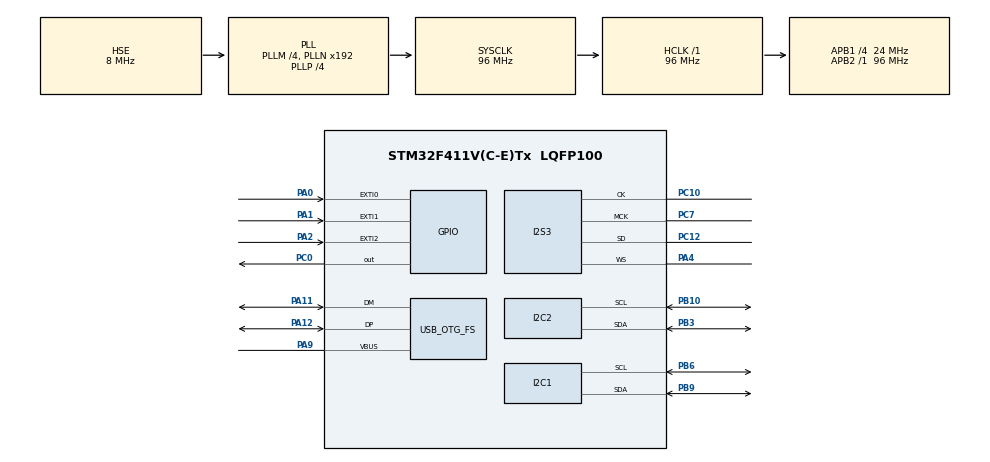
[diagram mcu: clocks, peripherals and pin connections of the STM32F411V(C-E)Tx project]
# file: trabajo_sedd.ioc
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Dma.Request0=SPI3_TX
Dma.SPI3_TX.0.Direction=DMA_MEMORY_TO_PERIPH
Dma.SPI3_TX.0.FIFOMode=DMA_FIFOMODE_ENABLE
Dma.SPI3_TX.0.FIFOThreshold=DMA_FIFO_THRESHOLD_FULL
Dma.SPI3_TX.0.Instance=DMA1_Stream5
Dma.SPI3_TX.0.MemBurst=DMA_MBURST_SINGLE
Dma.SPI3_TX.0.MemDataAlignment=DMA_MDATAALIGN_HALFWORD
Dma.SPI3_TX.0.MemInc=DMA_MINC_ENABLE
Dma.SPI3_TX.0.Mode=DMA_CIRCULAR
Dma.SPI3_TX.0.PeriphBurst=DMA_PBURST_SINGLE
Dma.SPI3_TX.0.PeriphDataAlignment=DMA_PDATAALIGN_HALFWORD
Dma.SPI3_TX.0.PeriphInc=DMA_PINC_DISABLE
Dma.SPI3_TX.0.Priority=DMA_PRIORITY_LOW
FATFS._USE_LFN=1
I2C2.I2C_Mode=I2C_Fast
I2S3.AudioFreq=I2S_AUDIOFREQ_44K
I2S3.ErrorAudioFreq=1.45 %
I2S3.FullDuplexMode=I2S_FULLDUPLEXMODE_DISABLE
I2S3.Instance=SPI$Index
I2S3.RealAudioFreq=44.642 KHz
I2S3.VirtualMode=I2S_MODE_MASTER
Mcu.Family=STM32F4
Mcu.Name=STM32F411V(C-E)Tx
Mcu.Package=LQFP100
NVIC.DMA1_Stream5_IRQn=true\:0\:0\:false\:false\:true\:false\:true\:true
NVIC.EXTI0_IRQn=true\:0\:0\:false\:false\:true\:true\:true\:true
NVIC.EXTI1_IRQn=true\:0\:0\:false\:false\:true\:true\:true\:true
NVIC.EXTI2_IRQn=true\:0\:0\:false\:false\:true\:true\:true\:true
NVIC.OTG_FS_IRQn=true\:0\:0\:false\:false\:true\:true\:true\:true
NVIC.PriorityGroup=NVIC_PRIORITYGROUP_0
NVIC.TIM1_UP_TIM10_IRQn=true\:0\:0\:false\:false\:true\:true\:true\:true
PA0-WKUP.GPIO_PuPd=GPIO_PULLDOWN
PA0-WKUP.Signal=GPXTI0
PA1.GPIO_PuPd=GPIO_PULLDOWN
PA1.Signal=GPXTI1
PA11.Mode=Host_Only
PA11.Signal=USB_OTG_FS_DM
PA12.Mode=Host_Only
PA12.Signal=USB_OTG_FS_DP
PA2.GPIO_PuPd=GPIO_PULLDOWN
PA2.Signal=GPXTI2
PA4.Mode=Half_Duplex_Master
PA4.Signal=I2S3_WS
PA9.Mode=Activate_VBUS
PA9.Signal=USB_OTG_FS_VBUS
PB10.Mode=I2C
PB10.Signal=I2C2_SCL
PB3.Mode=I2C
PB3.Signal=I2C2_SDA
PB6.GPIO_Pu=GPIO_PULLUP
PB6.Mode=I2C
PB6.Signal=I2C1_SCL
PB9.GPIO_Pu=GPIO_PULLUP
PB9.Mode=I2C
PB9.Signal=I2C1_SDA
PC0.Signal=GPIO_Output
PC10.Mode=Half_Duplex_Master
PC10.Signal=I2S3_CK
PC12.Mode=Half_Duplex_Master
PC12.Signal=I2S3_SD
PC7.Mode=Master_Clock_Activated
PC7.Signal=I2S3_MCK
PH0\ -\ OSC_IN.Mode=HSE-External-Oscillator
PH0\ -\ OSC_IN.Signal=RCC_OSC_IN
PH1\ -\ OSC_OUT.Mode=HSE-External-Oscillator
PH1\ -\ OSC_OUT.Signal=RCC_OSC_OUT
ProjectManager.HeapSize=0x200
ProjectManager.StackSize=0x400
ProjectManager.TargetToolchain=STM32CubeIDE
RCC.48MHZClocksFreq_Value=48000000
RCC.AHBFreq_Value=96000000
RCC.APB1CLKDivider=RCC_HCLK_DIV4
RCC.APB1Freq_Value=24000000
RCC.APB1TimFreq_Value=48000000
RCC.APB2Freq_Value=96000000
RCC.APB2TimFreq_Value=96000000
RCC.CortexFreq_Value=96000000
RCC.HCLKFreq_Value=96000000
RCC.HSE_VALUE=8000000
RCC.HSI_VALUE=16000000
RCC.LSE_VALUE=32768
RCC.PLLI2SM=5
RCC.PLLI2SN=200
RCC.PLLM=4
RCC.PLLP=RCC_PLLP_DIV4
RCC.PLLQ=8
RCC.SYSCLKFreq_VALUE=96000000
RCC.SYSCLKSource=RCC_SYSCLKSOURCE_PLLCLK
RCC.VCOOutputFreq_Value=384000000
TIM10.Period=800
TIM10.Prescaler=48000
USB_HOST.BSP.number=1
USB_HOST.USBH_HandleTypeDef=hUsbHostFS
USB_HOST.VirtualModeFS=Msc
USB_HOST0.BSP.STBoard=false
USB_HOST0.BSP.api=Unknown
USB_HOST0.BSP.instance=PC0
USB_HOST0.BSP.ip=GPIO
USB_HOST0.BSP.mode=Output
USB_HOST0.BSP.name=Drive_VBUS_FS
USB_HOST0.BSP.solution=PC0
USB_OTG_FS.VirtualMode=Host_Only
USB_OTG_FS.phy_itface=HCD_PHY_EMBEDDED
VP_FATFS_VS_USB.Mode=USB
VP_TIM10_VS_ClockSourceINT.Mode=Enable_Timer
VP_USB_HOST_VS_USB_HOST_MSC_FS.Mode=MSC_FS
board=STM32F411E-DISCO

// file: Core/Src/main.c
/* USER CODE BEGIN Header */
/**
  ******************************************************************************
  * @file           : main.c
  * @brief          : Main program body
  ******************************************************************************
  * @attention
  *
  * <h2><center>&copy; Copyright (c) 2021 STMicroelectronics.
  * All rights reserved.</center></h2>
  *
  * This software component is licensed by ST under Ultimate Liberty license
  * SLA0044, the "License"; You may not use this file except in compliance with
  * the License. You may obtain a copy of the License at:
  *                             www.st.com/SLA0044
  *
  ******************************************************************************
  */

/*/////////////////////////////////////////////////////////////////////////////////
***********************************************************************************
*************************************MP3+OLED**************************************
***********************************************************************************
En este proyecto han sido utilizados varios drivers para el control del audio del micro y del OLED que ha sido adquirido.
Estos archivos han sido descargados de la pagina de Controllerstech
  - Los drivers para gestionar audio son: AUDIO_LINK, AUDIO, cs43l22, File_Handling y waveplayer
  - Los drivers para gestionar el OLED son: fonts y ssd1306

**** DRIVERS MODIFICADOS POR EL ALUMNO: waveplayer.c
  - Se ha modificado waveplayer.c para incluir dos funciones que permiten la
    obtencion del nombre del archivo de audio que se esta reproduciendo: get_name() y quitar_extension()

**** RESTO DE ARCHIVOS (REALIZADOS AL 100% POR EL ALUMNO)
  - Se han creado archivos de cabecera (.h) para realizar mapas de bits con dibujos/animaciones
    en el OLED, estos archivos son: bailadora.h, fumador.h, skater.h y Otras_Imagenes.h

  - main.c: En este archivo, el funcionamiento principal del programa es gestionado

**** FUNCIONAMIENTO PRINCIPAL
  - Al ejecutar el programa se muestra en el OLED una portada durante 5 segundos
  - Despues se muestra una segunda portada durante otros 5 segundos
  - Al terminar la presentacion, empieza a sonar la musica y en el OLED se muestra el nombre de la cancion acompanado de una animacion
  - Las animaciones son gestionadas con un temporizador basico
  - Con PA0, PA1 y PA2 se controla la accion de pausar y pasar a siguiente o anterior cancion
  - Al cambiar de cancion, se actualiza en el OLED la animacion mostrada y el titulo de cancion
  - Al pausar se muestra una imagen especial
*/

/* USER CODE END Header */
#include "main.h"
#include "fatfs.h"
#include "usb_host.h"

/* USER CODE BEGIN Includes */

//////AUDIO///////
#include "waveplayer.h"
#include "File_Handling.h"

//////OLED///////
#include "ssd1306.h"
#include "fonts.h"
#include "stdio.h"

//////ANIMACIONES e IMAGENES///////
#include "skater.h"
#include "fumador.h"
#include "bailadora.h"
#include "Otras_Imagenes.h"

/* USER CODE END Includes */

I2C_HandleTypeDef hi2c1;
I2C_HandleTypeDef hi2c2;

I2S_HandleTypeDef hi2s3;
DMA_HandleTypeDef hdma_spi3_tx;

TIM_HandleTypeDef htim10;

void SystemClock_Config(void);
static void MX_GPIO_Init(void);
static void MX_DMA_Init(void);
static void MX_I2C1_Init(void);
static void MX_I2S3_Init(void);
static void MX_I2C2_Init(void);
static void MX_TIM10_Init(void);
void MX_USB_HOST_Process(void);

/* USER CODE BEGIN 0 */

// Declaracion de las funciones que controlan las animaciones
void animacion1(uint8_t);
void animacion2(uint8_t);
void animacion3(uint8_t);
void animacion4(uint8_t);

extern ApplicationTypeDef Appli_state;         // Estado de la aplicacion
extern AUDIO_PLAYBACK_StateTypeDef AudioState; // Estado del audio (Siguiente o anterior cancion, pausa...)

int IsFinished = 0;               // Para terminar el bucle while principal cuando AudioState = AUDIO_STATE_STOP
int current_anim_state = 3;       // Animacion que se esta ejecutando en el momento (1, 2, 3 o 4)
volatile uint8_t frame_anim = 0;  // Variable para selecionar los frames en las animaciones

void change_animation() // Para seleccionar la siguiente animacion al cambiar de cancion
{
	// Se hace con esta estructura if-elsif porque con los rebotes "current_anim_state ++" daba errores
	if(current_anim_state == 1)
		current_anim_state = 2;
	else if(current_anim_state == 2)
		current_anim_state = 3;
	else if(current_anim_state == 3)
		current_anim_state = 4;
	else if(current_anim_state == 4)
		current_anim_state = 1;
}

void HAL_GPIO_EXTI_Callback(uint16_t GPIO_Pin)
{
	if (GPIO_Pin == GPIO_PIN_0) // PA0 controla la pausa/reanudacion del mp3
	{
		if (AudioState == AUDIO_STATE_PLAY)
		{
			AudioState = AUDIO_STATE_PAUSE;
			SSD1306_Clear();
			SSD1306_DrawBitmap(0, 0, PAUSA, 128, 64, 1); // Se dibuja la imagen de pausa cuando AudioState pasa a valer "AUDIO_STATE_PAUSE" debido a PA0
			SSD1306_UpdateScreen();
		}

		if (AudioState == AUDIO_STATE_WAIT)
		{
			AudioState = AUDIO_STATE_RESUME;
		}
	}

	if (GPIO_Pin == GPIO_PIN_1) // PA1 se utiliza para reproducir el siguiente archivo
	{
		AudioState = AUDIO_STATE_NEXT;
		change_animation();     // Al cambiar la cancion, se cambia la animacion mostrada
		frame_anim = 1;         // Se reinicia el frame de la animacion al primer frame
	}

	if (GPIO_Pin == GPIO_PIN_2) // PA2 se utiliza para reproducir el archivo anterior
	{
		AudioState = AUDIO_STATE_PREVIOUS;
		change_animation();     // Al cambiar la cancion, se cambia la animacion mostrada
		frame_anim = 1;         // Se reinicia el frame de la animacion al primer frame
	}
}

// Se utiliza un temporizador basico para la actualizacion de los frames en las animaciones para el OLED
void HAL_TIM_PeriodElapsedCallback(TIM_HandleTypeDef *htim)  // Se genera una interrupcion en intervalos inferiores a medio segundo.
{

    if (htim->Instance == TIM10 && (AudioState == AUDIO_STATE_PLAY)) // Solo se ejecutan las animaciones cuando el estado del audio es AUDIO_STATE_PLAY
    {
    	if(current_anim_state == 1)
    	{
			frame_anim++;
			if (frame_anim == 11) frame_anim = 1;
			animacion1(frame_anim);
    	}

    	else if(current_anim_state == 2)
    	{
			frame_anim++;
			if (frame_anim == 7) frame_anim = 1;
			animacion2(frame_anim);
    	}

    	else if(current_anim_state == 3)
    	{
			frame_anim++;
			if (frame_anim == 9) frame_anim = 1;
			animacion3(frame_anim);
    	}

    	else if(current_anim_state == 4)
    	{
			frame_anim++;
			if (frame_anim == 7) frame_anim = 1;
			animacion4(frame_anim);
    	}
    }
}

//////////////////////////////////////////////////////////////////////////////////////////
//////////////////////////////////////////////////////////////////////////////////////////
//**********************************ANIMACIONES*******************************************
// En todas las animaciones se obtiene el nombre de la cancion reproducida y se procede a escribirlo en la pantalla en todos los frames
char* get_name();
char* quitar_extension(const char*);
void animacion1(uint8_t frame)
{
	int x = 35; // Posicion del nombre de la cancion en el OLED
	char* song_name = quitar_extension(get_name()); // Usamos las dos funciones que hemos incluido a waveplayer.c para obtener el nombre del archivo en ejecucion

	  //// ANIMATION STARTS //////
	if (frame == 1)
	{
	    SSD1306_Clear();
	    SSD1306_GotoXY (0,10); // goto 0, 10
	    SSD1306_Puts ("\\O/", &Font_11x18, 1);
	    SSD1306_GotoXY (0, 30);
	    SSD1306_Puts (" |", &Font_11x18, 1);
	    SSD1306_GotoXY (0, 45);
	    SSD1306_Puts ("/ \\", &Font_11x18, 1);
	    SSD1306_GotoXY (x, 30);
	    SSD1306_Puts (song_name, &Font_11x18, 0);
	    SSD1306_UpdateScreen(); // update screen
	}

	else if (frame == 2)
	{
	    SSD1306_Clear();
	    SSD1306_GotoXY (0,10);
	    SSD1306_Puts ("\\O", &Font_11x18, 1);
	    SSD1306_GotoXY (0, 30);
	    SSD1306_Puts (" |\\", &Font_11x18, 1);
	    SSD1306_GotoXY (0, 45);
	    SSD1306_Puts ("\\ \\", &Font_11x18, 1);
	    SSD1306_GotoXY (x, 30);
	    SSD1306_Puts (song_name, &Font_11x18, 0);
	    SSD1306_UpdateScreen(); // update screen
	}

	else if (frame == 3)
	{
	    SSD1306_Clear();
	    SSD1306_GotoXY (0,10);
	    SSD1306_Puts (" O/", &Font_11x18, 1);
	    SSD1306_GotoXY (0, 30);
	    SSD1306_Puts ("\\|", &Font_11x18, 1);
	    SSD1306_GotoXY (0, 45);
	    SSD1306_Puts ("/ \\", &Font_11x18, 1);
	    SSD1306_GotoXY (x, 30);
	    SSD1306_Puts (song_name, &Font_11x18, 0);
	    SSD1306_UpdateScreen(); // update screen
	}

	else if (frame == 4)
	{
	    SSD1306_Clear();
	    SSD1306_GotoXY (0,10);
	    SSD1306_Puts ("\\O", &Font_11x18, 1);
	    SSD1306_GotoXY (0, 30);
	    SSD1306_Puts (" |\\", &Font_11x18, 1);
	    SSD1306_GotoXY (0, 45);
	    SSD1306_Puts ("/ \\", &Font_11x18, 1);
	    SSD1306_GotoXY (x, 30);
	    SSD1306_Puts (song_name, &Font_11x18, 0);
	    SSD1306_UpdateScreen(); // update screen
	}

	else if (frame == 5)
	{
	    SSD1306_Clear();
	    SSD1306_GotoXY (0,10);
	    SSD1306_Puts (" O/", &Font_11x18, 1);
	    SSD1306_GotoXY (0, 30);
	    SSD1306_Puts ("\\|", &Font_11x18, 1);
	    SSD1306_GotoXY (0, 45);
	    SSD1306_Puts ("\\ \\", &Font_11x18, 1);
	    SSD1306_GotoXY (x, 30);
	    SSD1306_Puts (song_name, &Font_11x18, 0);
	    SSD1306_UpdateScreen(); // update screen
	}

	else if (frame == 6)
	{
	    SSD1306_Clear();
	    SSD1306_GotoXY (0,10);
	    SSD1306_Puts ("\\O", &Font_11x18, 1);
	    SSD1306_GotoXY (0, 30);
	    SSD1306_Puts (" |\\", &Font_11x18, 1);
	    SSD1306_GotoXY (0, 45);
	    SSD1306_Puts ("/ \\", &Font_11x18, 1);
	    SSD1306_GotoXY (x, 30);
	    SSD1306_Puts (song_name, &Font_11x18, 0);
	    SSD1306_UpdateScreen(); // update screen
	}

	else if (frame == 7)
	{
	    SSD1306_Clear();
	    SSD1306_GotoXY (0,10);
	    SSD1306_Puts (" O/", &Font_11x18, 1);
	    SSD1306_GotoXY (0, 30);
	    SSD1306_Puts ("\\|", &Font_11x18, 1);
	    SSD1306_GotoXY (0, 45);
	    SSD1306_Puts ("/ \\", &Font_11x18, 1);
	    SSD1306_GotoXY (x, 30);
	    SSD1306_Puts (song_name, &Font_11x18, 0);
	    SSD1306_UpdateScreen(); // update screen
	}

	else if (frame == 8)
	{
	    SSD1306_Clear();
	    SSD1306_GotoXY (0,10);
	    SSD1306_Puts ("\\O_", &Font_11x18, 1);
	    SSD1306_GotoXY (0, 30);
	    SSD1306_Puts (" |", &Font_11x18, 1);
	    SSD1306_GotoXY (0, 45);
	    SSD1306_Puts ("/ \\", &Font_11x18, 1);
	    SSD1306_GotoXY (x, 30);
	    SSD1306_Puts (song_name, &Font_11x18, 0);
	    SSD1306_UpdateScreen(); // update screen
	}

	else if (frame == 9)
	{
	    SSD1306_Clear();
	    SSD1306_GotoXY (0,10);
	    SSD1306_Puts ("\\O/", &Font_11x18, 1);
	    SSD1306_GotoXY (0, 30);
	    SSD1306_Puts (" |", &Font_11x18, 1);
	    SSD1306_GotoXY (0, 45);
	    SSD1306_Puts ("\\ \\", &Font_11x18, 1);
	    SSD1306_GotoXY (x, 30);
	    SSD1306_Puts (song_name, &Font_11x18, 0);
	    SSD1306_UpdateScreen(); // update screen
	}

	else if(frame == 10)
	{
	    SSD1306_Clear();
	    SSD1306_GotoXY (0,10);
	    SSD1306_Puts ("_O/", &Font_11x18, 1);
	    SSD1306_GotoXY (0, 30);
	    SSD1306_Puts (" |", &Font_11x18, 1);
	    SSD1306_GotoXY (0, 45);
	    SSD1306_Puts ("/ \\", &Font_11x18, 1);
	    SSD1306_GotoXY (x, 30);
	    SSD1306_Puts (song_name, &Font_11x18, 0);
	    SSD1306_UpdateScreen(); // update screen
	}
}

void animacion2(uint8_t frame)
{
	char* song_name = quitar_extension(get_name()); // Usamos las dos funciones que hemos incluido a waveplayer.c para obtener el nombre del archivo en ejecucion

	  //// ANIMATION STARTS //////
	if (frame == 1)
	{
		SSD1306_Clear();
		SSD1306_DrawBitmap(0, 0, skater1, 128, 64, 1);
		SSD1306_GotoXY (10,45);
		SSD1306_Puts (song_name, &Font_11x18, 1);
		SSD1306_UpdateScreen(); // update screen
	}

	else if (frame == 2)
	{
		SSD1306_Clear();
		SSD1306_DrawBitmap(0, 0, skater2, 128, 64, 1);
		SSD1306_GotoXY (10,45);
		SSD1306_Puts (song_name, &Font_11x18, 1);
	    SSD1306_UpdateScreen(); // update screen
	}

	else if (frame == 3)
	{
		SSD1306_Clear();
		SSD1306_DrawBitmap(0, 0, skater3, 128, 64, 1);
		SSD1306_GotoXY (10,45);
		SSD1306_Puts (song_name, &Font_11x18, 1);
		SSD1306_UpdateScreen(); // update screen
	}

	else if (frame == 4)
	{
		SSD1306_Clear();
		SSD1306_DrawBitmap(0, 0, skater4, 128, 64, 1);
		SSD1306_GotoXY (10,45);
		SSD1306_Puts (song_name, &Font_11x18, 1);
		SSD1306_UpdateScreen(); // update screen
	}

	else if (frame == 5)
	{
		SSD1306_Clear();
		SSD1306_DrawBitmap(0, 0, skater5, 128, 64, 1);
		SSD1306_GotoXY (10,45);
		SSD1306_Puts (song_name, &Font_11x18, 1);
		SSD1306_UpdateScreen(); // update screen
	}

	else if (frame == 6)
	{
		SSD1306_Clear();
		SSD1306_DrawBitmap(0, 0, skater6, 128, 64, 1);
		SSD1306_GotoXY (10,45);
		SSD1306_Puts (song_name, &Font_11x18, 1);
		SSD1306_UpdateScreen(); // update screen
	}
}

void animacion3(uint8_t frame)
{
	char* song_name = quitar_extension(get_name()); // Usamos las dos funciones que hemos incluido a waveplayer.c para obtener el nombre del archivo en ejecucion

	  //// ANIMATION STARTS //////
	if (frame == 1)
	{
		SSD1306_Clear();
		SSD1306_DrawBitmap(0, 0, fumador1, 128, 64, 1);
		SSD1306_GotoXY (10,45);
		SSD1306_Puts (song_name, &Font_11x18, 1);
		SSD1306_UpdateScreen(); // update screen
	}

	else if (frame == 2)
	{
		SSD1306_Clear();
		SSD1306_DrawBitmap(0, 0, fumador2, 128, 64, 1);
		SSD1306_GotoXY (10,45);
		SSD1306_Puts (song_name, &Font_11x18, 1);
		SSD1306_UpdateScreen(); // update screen
	}

	else if (frame == 3)
	{
		SSD1306_Clear();
		SSD1306_DrawBitmap(0, 0, fumador3, 128, 64, 1);
		SSD1306_GotoXY (10,45);
		SSD1306_Puts (song_name, &Font_11x18, 1);
		SSD1306_UpdateScreen(); // update screen
	}

	else if (frame == 4)
	{
		SSD1306_Clear();
		SSD1306_DrawBitmap(0, 0, fumador4, 128, 64, 1);
		SSD1306_GotoXY (10,45);
		SSD1306_Puts (song_name, &Font_11x18, 1);
		SSD1306_UpdateScreen(); // update screen
	}

	else if (frame == 5)
	{
		SSD1306_Clear();
		SSD1306_DrawBitmap(0, 0, fumador3, 128, 64, 1);
		SSD1306_GotoXY (10,45);
		SSD1306_Puts (song_name, &Font_11x18, 1);
		SSD1306_UpdateScreen(); // update screen
	}

	else if (frame == 6)
	{
		SSD1306_Clear();
		SSD1306_DrawBitmap(0, 0, fumador2, 128, 64, 1);
		SSD1306_GotoXY (10,45);
		SSD1306_Puts (song_name, &Font_11x18, 1);
		SSD1306_UpdateScreen(); // update screen
	}

	else if (frame == 7)
	{
		SSD1306_Clear();
		SSD1306_DrawBitmap(0, 0, fumador4, 128, 64, 1);
		SSD1306_GotoXY (10,45);
		SSD1306_Puts (song_name, &Font_11x18, 1);
		SSD1306_UpdateScreen(); // update screen
	}

	else if (frame == 8)
	{
		SSD1306_Clear();
		SSD1306_DrawBitmap(0, 0, fumador2, 128, 64, 1);
		SSD1306_GotoXY (10,45);
		SSD1306_Puts (song_name, &Font_11x18, 1);
		SSD1306_UpdateScreen(); // update screen
	}
}

void animacion4(uint8_t frame)
{
	char* song_name = quitar_extension(get_name()); // Usamos las dos funciones que hemos incluido a waveplayer.c para obtener el nombre del archivo en ejecucion

	  //// ANIMATION STARTS //////
	if (frame == 1)
	{
		SSD1306_Clear();
		SSD1306_DrawBitmap(0, 0, bailadora1, 128, 64, 1);
		SSD1306_GotoXY (10,45);
		SSD1306_Puts (song_name, &Font_11x18, 1);
		SSD1306_UpdateScreen(); // update screen
	}

	else if (frame == 2)
	{
		SSD1306_Clear();
		SSD1306_DrawBitmap(0, 0, bailadora2, 128, 64, 1);
		SSD1306_GotoXY (10,45);
		SSD1306_Puts (song_name, &Font_11x18, 1);
	    SSD1306_UpdateScreen(); // update screen
	}

	else if (frame == 3)
	{
		SSD1306_Clear();
		SSD1306_DrawBitmap(0, 0, bailadora3, 128, 64, 1);
		SSD1306_GotoXY (10,45);
		SSD1306_Puts (song_name, &Font_11x18, 1);
		SSD1306_UpdateScreen(); // update screen
	}

	else if (frame == 4)
	{
		SSD1306_Clear();
		SSD1306_DrawBitmap(0, 0, bailadora4, 128, 64, 1);
		SSD1306_GotoXY (10,45);
		SSD1306_Puts (song_name, &Font_11x18, 1);
		SSD1306_UpdateScreen(); // update screen
	}

	else if (frame == 5)
	{
		SSD1306_Clear();
		SSD1306_DrawBitmap(0, 0, bailadora3, 128, 64, 1);
		SSD1306_GotoXY (10,45);
		SSD1306_Puts (song_name, &Font_11x18, 1);
		SSD1306_UpdateScreen(); // update screen
	}

	else if (frame == 6)
	{
		SSD1306_Clear();
		SSD1306_DrawBitmap(0, 0, bailadora2, 128, 64, 1);
		SSD1306_GotoXY (10,45);
		SSD1306_Puts (song_name, &Font_11x18, 1);
		SSD1306_UpdateScreen(); // update screen
	}
}

//////////////////////////////////////////////////////////////////////////////////////////
//////////////////////////////////////////////////////////////////////////////////////////

/* USER CODE END 0 */

int main(void)
{

  /* MCU Configuration--------------------------------------------------------*/

  /* Reset of all peripherals, Initializes the Flash interface and the Systick. */
  HAL_Init();

  /* Configure the system clock */
  SystemClock_Config();

  /* Initialize all configured peripherals */
  MX_GPIO_Init();
  MX_DMA_Init();
  MX_I2C1_Init();
  MX_I2S3_Init();
  MX_FATFS_Init();
  MX_USB_HOST_Init();
  MX_I2C2_Init();
  MX_TIM10_Init();
  /* USER CODE BEGIN 2 */

  SSD1306_Init();
  HAL_TIM_Base_Start_IT(&htim10);

  // ANTES DE ENTRAR AL BUCLE WHILE, GENERAMOS UN PAR DE IMAGENES DE PRESENTACION

  // 1. Dibujamos en el OLED la primera PORTADA durante 5 segundos
  SSD1306_DrawBitmap(0, 0, PORTADA1, 128, 64, 1);
  SSD1306_UpdateScreen(); // update screen
  HAL_Delay (5000);

  SSD1306_Clear();

  // 2. Dibujamos en el OLED la segunda PORTADA durante 5 segundos
  SSD1306_DrawBitmap(0, 0, PORTADA2, 128, 64, 1);
  SSD1306_UpdateScreen(); // update screen
  HAL_Delay (5000);

  /* USER CODE END 2 */

  /* Infinite loop */
  while (1)
  {
    MX_USB_HOST_Process();

    /* USER CODE BEGIN 3 */

    if (Appli_state == APPLICATION_READY) // TRUE cuando este el pendrive conectado y todo configurado correctamente
    {
    	Mount_USB();
    	AUDIO_PLAYER_Start(0);
    	while (!IsFinished) // Mientras se ejecuta este bucle, el mp3 esta en funcionamiento, pudiendo pausarse o cambiar las canciones
    	{
    		AUDIO_PLAYER_Process(TRUE);

    		if (AudioState == AUDIO_STATE_STOP)
    		{
    			IsFinished = 1;
    		}
    	}
    }

  }
  /* USER CODE END 3 */
}

void SystemClock_Config(void)
{
  RCC_OscInitTypeDef RCC_OscInitStruct = {0};
  RCC_ClkInitTypeDef RCC_ClkInitStruct = {0};

  /** Configure the main internal regulator output voltage
  */
  __HAL_RCC_PWR_CLK_ENABLE();
  __HAL_PWR_VOLTAGESCALING_CONFIG(PWR_REGULATOR_VOLTAGE_SCALE1);

  /** Initializes the RCC Oscillators according to the specified parameters
  * in the RCC_OscInitTypeDef structure.
  */
  RCC_OscInitStruct.OscillatorType = RCC_OSCILLATORTYPE_HSE;
  RCC_OscInitStruct.HSEState = RCC_HSE_ON;
  RCC_OscInitStruct.PLL.PLLState = RCC_PLL_ON;
  RCC_OscInitStruct.PLL.PLLSource = RCC_PLLSOURCE_HSE;
  RCC_OscInitStruct.PLL.PLLM = 4;
  RCC_OscInitStruct.PLL.PLLN = 192;
  RCC_OscInitStruct.PLL.PLLP = RCC_PLLP_DIV4;
  RCC_OscInitStruct.PLL.PLLQ = 8;
  if (HAL_RCC_OscConfig(&RCC_OscInitStruct) != HAL_OK)
  {
    Error_Handler();
  }

  /** Initializes the CPU, AHB and APB buses clocks
  */
  RCC_ClkInitStruct.ClockType = RCC_CLOCKTYPE_HCLK|RCC_CLOCKTYPE_SYSCLK
                              |RCC_CLOCKTYPE_PCLK1|RCC_CLOCKTYPE_PCLK2;
  RCC_ClkInitStruct.SYSCLKSource = RCC_SYSCLKSOURCE_PLLCLK;
  RCC_ClkInitStruct.AHBCLKDivider = RCC_SYSCLK_DIV1;
  RCC_ClkInitStruct.APB1CLKDivider = RCC_HCLK_DIV4;
  RCC_ClkInitStruct.APB2CLKDivider = RCC_HCLK_DIV1;

  if (HAL_RCC_ClockConfig(&RCC_ClkInitStruct, FLASH_LATENCY_3) != HAL_OK)
  {
    Error_Handler();
  }
}

static void MX_I2C1_Init(void)
{

  hi2c1.Instance = I2C1;
  hi2c1.Init.ClockSpeed = 100000;
  hi2c1.Init.DutyCycle = I2C_DUTYCYCLE_2;
  hi2c1.Init.OwnAddress1 = 0;
  hi2c1.Init.AddressingMode = I2C_ADDRESSINGMODE_7BIT;
  hi2c1.Init.DualAddressMode = I2C_DUALADDRESS_DISABLE;
  hi2c1.Init.OwnAddress2 = 0;
  hi2c1.Init.GeneralCallMode = I2C_GENERALCALL_DISABLE;
  hi2c1.Init.NoStretchMode = I2C_NOSTRETCH_DISABLE;
  if (HAL_I2C_Init(&hi2c1) != HAL_OK)
  {
    Error_Handler();
  }

}

static void MX_I2C2_Init(void)
{

  hi2c2.Instance = I2C2;
  hi2c2.Init.ClockSpeed = 400000;
  hi2c2.Init.DutyCycle = I2C_DUTYCYCLE_2;
  hi2c2.Init.OwnAddress1 = 0;
  hi2c2.Init.AddressingMode = I2C_ADDRESSINGMODE_7BIT;
  hi2c2.Init.DualAddressMode = I2C_DUALADDRESS_DISABLE;
  hi2c2.Init.OwnAddress2 = 0;
  hi2c2.Init.GeneralCallMode = I2C_GENERALCALL_DISABLE;
  hi2c2.Init.NoStretchMode = I2C_NOSTRETCH_DISABLE;
  if (HAL_I2C_Init(&hi2c2) != HAL_OK)
  {
    Error_Handler();
  }

}

static void MX_I2S3_Init(void)
{

  hi2s3.Instance = SPI3;
  hi2s3.Init.Mode = I2S_MODE_MASTER_TX;
  hi2s3.Init.Standard = I2S_STANDARD_PHILIPS;
  hi2s3.Init.DataFormat = I2S_DATAFORMAT_16B;
  hi2s3.Init.MCLKOutput = I2S_MCLKOUTPUT_ENABLE;
  hi2s3.Init.AudioFreq = I2S_AUDIOFREQ_44K;
  hi2s3.Init.CPOL = I2S_CPOL_LOW;
  hi2s3.Init.ClockSource = I2S_CLOCK_PLL;
  hi2s3.Init.FullDuplexMode = I2S_FULLDUPLEXMODE_DISABLE;
  if (HAL_I2S_Init(&hi2s3) != HAL_OK)
  {
    Error_Handler();
  }

}

static void MX_TIM10_Init(void)
{

  htim10.Instance = TIM10;
  htim10.Init.Prescaler = 48000;
  htim10.Init.CounterMode = TIM_COUNTERMODE_UP;
  htim10.Init.Period = 800;
  htim10.Init.ClockDivision = TIM_CLOCKDIVISION_DIV1;
  htim10.Init.AutoReloadPreload = TIM_AUTORELOAD_PRELOAD_DISABLE;
  if (HAL_TIM_Base_Init(&htim10) != HAL_OK)
  {
    Error_Handler();
  }

}

static void MX_DMA_Init(void)
{

  /* DMA controller clock enable */
  __HAL_RCC_DMA1_CLK_ENABLE();

  /* DMA interrupt init */
  /* DMA1_Stream5_IRQn interrupt configuration */
  HAL_NVIC_SetPriority(DMA1_Stream5_IRQn, 0, 0);
  HAL_NVIC_EnableIRQ(DMA1_Stream5_IRQn);

}

static void MX_GPIO_Init(void)
{
  GPIO_InitTypeDef GPIO_InitStruct = {0};

  /* GPIO Ports Clock Enable */
  __HAL_RCC_GPIOH_CLK_ENABLE();
  __HAL_RCC_GPIOC_CLK_ENABLE();
  __HAL_RCC_GPIOA_CLK_ENABLE();
  __HAL_RCC_GPIOB_CLK_ENABLE();

  /*Configure GPIO pin Output Level */
  HAL_GPIO_WritePin(GPIOC, GPIO_PIN_0, GPIO_PIN_RESET);

  /*Configure GPIO pin : PC0 */
  GPIO_InitStruct.Pin = GPIO_PIN_0;
  GPIO_InitStruct.Mode = GPIO_MODE_OUTPUT_PP;
  GPIO_InitStruct.Pull = GPIO_NOPULL;
  GPIO_InitStruct.Speed = GPIO_SPEED_FREQ_LOW;
  HAL_GPIO_Init(GPIOC, &GPIO_InitStruct);

  /*Configure GPIO pins : PA0 PA1 PA2 */
  GPIO_InitStruct.Pin = GPIO_PIN_0|GPIO_PIN_1|GPIO_PIN_2;
  GPIO_InitStruct.Mode = GPIO_MODE_IT_RISING;
  GPIO_InitStruct.Pull = GPIO_PULLDOWN;
  HAL_GPIO_Init(GPIOA, &GPIO_InitStruct);

  /* EXTI interrupt init*/
  HAL_NVIC_SetPriority(EXTI0_IRQn, 0, 0);
  HAL_NVIC_EnableIRQ(EXTI0_IRQn);

  HAL_NVIC_SetPriority(EXTI1_IRQn, 0, 0);
  HAL_NVIC_EnableIRQ(EXTI1_IRQn);

  HAL_NVIC_SetPriority(EXTI2_IRQn, 0, 0);
  HAL_NVIC_EnableIRQ(EXTI2_IRQn);

}

void Error_Handler(void)
{
  __disable_irq();
  while (1)
  {
  }
}
